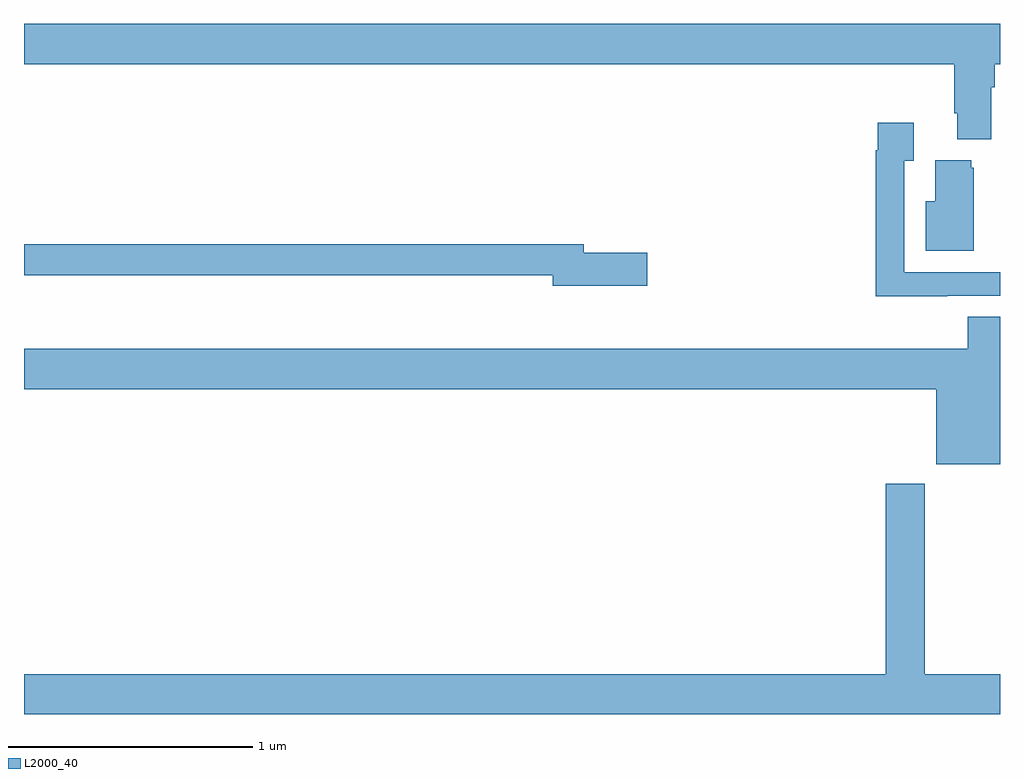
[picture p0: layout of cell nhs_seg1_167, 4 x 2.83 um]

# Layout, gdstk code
import gdstk
lib = gdstk.Library(unit=1e-6, precision=1e-09)
def P(c, l, *ps):  # polygons
    for p in ps: c.add(gdstk.Polygon(p, *l))
L2000_40 = (2000, 40)

nhs_seg1_167 = lib.new_cell('nhs_seg1_167')
P(nhs_seg1_167, L2000_40, [(122.965,551.636),(122.978,551.636),(122.978,551.732),(123,551.732),(123,551.896),(119,551.896),(119,551.732),(122.813,551.732),(122.813,551.53),(122.825,551.53),(122.825,551.423),(122.965,551.423)],
  [(122.783,550.782),(123,550.782),(123,550.878),(122.607,550.878),(122.607,551.335),(122.647,551.335),(122.647,551.491),(122.499,551.491),(122.499,551.378),(122.491,551.378),(122.491,550.781),(122.783,550.781)],
  [(122.893,551.307),(122.882,551.307),(122.882,551.338),(122.735,551.338),(122.735,551.17),(122.696,551.17),(122.696,550.967),(122.893,550.967)],
  [(121.555,550.958),(121.294,550.958),(121.294,550.994),(119,550.994),(119,550.866),(121.166,550.866),(121.166,550.823),(121.555,550.823)],
  [(123,550.697),(122.867,550.697),(122.867,550.564),(119,550.564),(119,550.4),(122.738,550.4),(122.738,550.091),(123,550.091)],
  [(123,549.232),(122.691,549.232),(122.691,550.012),(122.531,550.012),(122.531,549.232),(119,549.232),(119,549.068),(123,549.068)])

lib.write_gds('nhs_seg1_167.gds')
